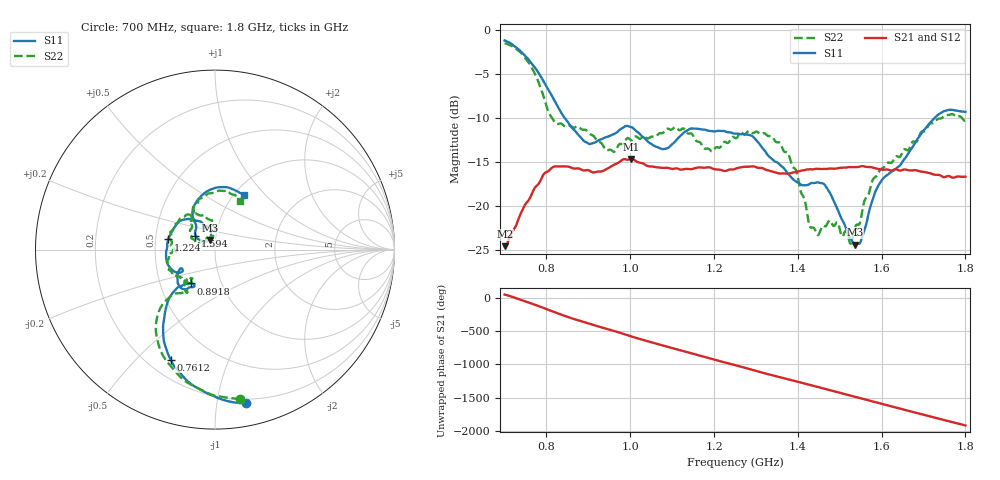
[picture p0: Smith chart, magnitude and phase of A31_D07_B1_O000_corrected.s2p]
! Created with skrf 1.9.0 (http://scikit-rf.org).
# Hz S RI R 50.0
!freq ReS11 ImS11 ReS21 ImS21 ReS12 ImS12 ReS22 ImS22
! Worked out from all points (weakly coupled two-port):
!   1601 points, 700 MHz to 1.8 GHz, reference 50 ohm
!   highest |S21| = -14.62 dB at 1.002 GHz (marker M1); lowest = -24.5 dB at 700.7 MHz (marker M2)
!   lowest |S11| = -24.3 dB at 1.537 GHz (marker M3), VSWR 1.13, Z = 47 + j5.1 ohm
!   |S11| at or under -10 dB: 844 MHz to 1.726 GHz (881.8 MHz wide, 68.6 % of centre)
!   |S22| runs from -24.2 to -1.5 dB; largest |S21 - S12| = 0.0035
!   S11 on the Smith chart (normalised r, x): 700 MHz: 0.17, -1.21; 761.2 MHz: 0.29, -0.63; 891.8 MHz: 0.71, -0.28; 1.224 GHz: 0.58, +0.07; 1.594 GHz: 0.80, +0.12; 1.8 GHz: 1.11, +0.76
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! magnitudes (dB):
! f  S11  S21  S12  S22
! 700 MHz  -1.2  -24.5  -24.3  -1.5
! 700.7 MHz  -1.2  -24.5  -24.2  -1.5
! 761.2 MHz  -3.6  -19.0  -18.9  -4.0
! 818.9 MHz  -8.0  -15.5  -15.6  -10.4
! 883.6 MHz  -12.3  -15.8  -15.7  -11.3
! 891.8 MHz  -12.7  -15.9  -15.9  -11.3
! 944.8 MHz  -12.1  -15.7  -15.8  -13.7
! 1.002 GHz  -11.0  -14.6  -14.7  -12.5
! 1.067 GHz  -13.3  -15.6  -15.5  -11.8
! 1.144 GHz  -11.2  -15.8  -15.8  -11.7
! 1.224 GHz  -11.5  -16.0  -16.0  -12.7
! 1.25 GHz  -11.7  -15.8  -15.7  -12.2
! 1.357 GHz  -15.3  -16.3  -16.2  -12.8
! 1.396 GHz  -17.2  -16.1  -16.1  -15.9
! 1.434 GHz  -17.3  -15.8  -15.8  -22.4
! 1.468 GHz  -17.8  -15.8  -15.7  -22.2
! 1.526 GHz  -23.6  -15.5  -15.5  -24.2
! 1.537 GHz  -24.3  -15.5  -15.6  -22.3
! 1.594 GHz  -17.5  -15.8  -15.8  -16.1
! 1.617 GHz  -16.3  -15.9  -15.8  -15.0
! 1.733 GHz  -9.7  -16.4  -16.5  -10.1
! 1.8 GHz  -9.3  -16.6  -16.6  -10.3
